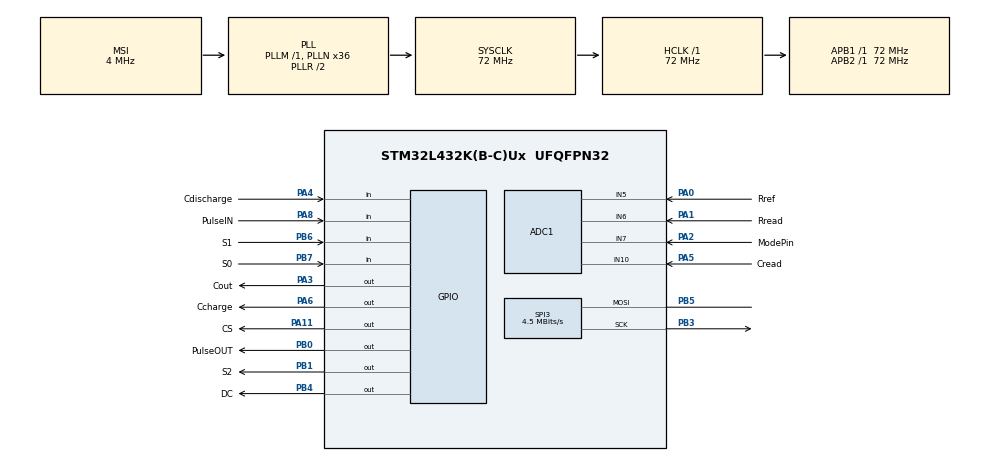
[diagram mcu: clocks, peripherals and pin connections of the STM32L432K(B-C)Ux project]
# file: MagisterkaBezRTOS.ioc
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ADC1.Channel-0\#ChannelRegularConversion=ADC_CHANNEL_5
ADC1.Channel-1\#ChannelRegularConversion=ADC_CHANNEL_6
ADC1.Channel-2\#ChannelRegularConversion=ADC_CHANNEL_7
ADC1.Channel-3\#ChannelRegularConversion=ADC_CHANNEL_10
ADC1.ClockPrescaler=ADC_CLOCK_ASYNC_DIV8
ADC1.ContinuousConvMode=ENABLE
ADC1.EOCSelection=ADC_EOC_SINGLE_CONV
ADC1.NbrOfConversion=4
ADC1.NbrOfConversionFlag=1
ADC1.OffsetNumber-0\#ChannelRegularConversion=ADC_OFFSET_NONE
ADC1.OffsetNumber-1\#ChannelRegularConversion=ADC_OFFSET_NONE
ADC1.OffsetNumber-2\#ChannelRegularConversion=ADC_OFFSET_NONE
ADC1.OffsetNumber-3\#ChannelRegularConversion=ADC_OFFSET_NONE
ADC1.Rank-0\#ChannelRegularConversion=1
ADC1.Rank-1\#ChannelRegularConversion=2
ADC1.Rank-2\#ChannelRegularConversion=3
ADC1.Rank-3\#ChannelRegularConversion=4
ADC1.SamplingTime-0\#ChannelRegularConversion=ADC_SAMPLETIME_24CYCLES_5
ADC1.SamplingTime-1\#ChannelRegularConversion=ADC_SAMPLETIME_24CYCLES_5
ADC1.SamplingTime-2\#ChannelRegularConversion=ADC_SAMPLETIME_24CYCLES_5
ADC1.SamplingTime-3\#ChannelRegularConversion=ADC_SAMPLETIME_24CYCLES_5
ADC1.master=1
Mcu.Family=STM32L4
Mcu.Name=STM32L432K(B-C)Ux
Mcu.Package=UFQFPN32
NVIC.PriorityGroup=NVIC_PRIORITYGROUP_4
NVIC.TIM6_DAC_IRQn=true\:15\:0\:false\:false\:true\:false\:true
NVIC.TimeBase=TIM6_DAC_IRQn
NVIC.TimeBaseIP=TIM6
PA0.GPIO_Label=Rref
PA0.Signal=ADCx_IN5
PA1.GPIO_Label=Rread
PA1.Signal=ADCx_IN6
PA11.GPIO_Label=CS
PA11.Signal=GPIO_Output
PA2.GPIO_Label=ModePin
PA2.Signal=ADCx_IN7
PA3.GPIO_Label=Cout
PA3.Signal=GPIO_Output
PA4.GPIO_Label=Cdischarge
PA4.Signal=GPIO_Input
PA5.GPIO_Label=Cread
PA5.Signal=ADCx_IN10
PA6.GPIO_Label=Ccharge
PA6.PinState=GPIO_PIN_SET
PA6.Signal=GPIO_Output
PA8.GPIO_Label=PulseIN
PA8.Signal=GPIO_Input
PB0.GPIO_Label=PulseOUT
PB0.Signal=GPIO_Output
PB1.GPIO_Label=S2
PB1.Signal=GPIO_Output
PB3\ (JTDO-TRACESWO).Mode=Simplex_Bidirectional_Master
PB3\ (JTDO-TRACESWO).Signal=SPI3_SCK
PB4\ (NJTRST).GPIO_Label=DC
PB4\ (NJTRST).Signal=GPIO_Output
PB5.Mode=Simplex_Bidirectional_Master
PB5.Signal=SPI3_MOSI
PB6.GPIO_Label=S1
PB6.Signal=GPIO_Input
PB7.GPIO_Label=S0
PB7.Signal=GPIO_Input
ProjectManager.HeapSize=0x200
ProjectManager.StackSize=0x400
ProjectManager.TargetToolchain=STM32CubeIDE
RCC.ADCFreq_Value=32000000
RCC.AHBFreq_Value=72000000
RCC.APB1Freq_Value=72000000
RCC.APB1TimFreq_Value=72000000
RCC.APB2Freq_Value=72000000
RCC.APB2TimFreq_Value=72000000
RCC.CortexFreq_Value=72000000
RCC.HCLKFreq_Value=72000000
RCC.HSE_VALUE=8000000
RCC.HSI48_VALUE=48000000
RCC.HSI_VALUE=16000000
RCC.LSE_VALUE=32768
RCC.MSI_VALUE=4000000
RCC.PLLN=36
RCC.PLLSAI1N=16
RCC.SYSCLKFreq_VALUE=72000000
RCC.SYSCLKSource=RCC_SYSCLKSOURCE_PLLCLK
RCC.USBFreq_Value=32000000
RCC.VCOOutputFreq_Value=144000000
SH.ADCx_IN10.0=ADC1_IN10,IN10-Single-Ended
SH.ADCx_IN5.0=ADC1_IN5,IN5-Single-Ended
SH.ADCx_IN6.0=ADC1_IN6,IN6-Single-Ended
SH.ADCx_IN7.0=ADC1_IN7,IN7-Single-Ended
SPI3.BaudRatePrescaler=SPI_BAUDRATEPRESCALER_16
SPI3.CalculateBaudRate=4.5 MBits/s
SPI3.DataSize=SPI_DATASIZE_8BIT
SPI3.Direction=SPI_DIRECTION_1LINE
SPI3.Mode=SPI_MODE_MASTER
SPI3.VirtualType=VM_MASTER
TIM1.Period=0xffff-1
TIM1.Prescaler=71
TIM2.Prescaler=72-1
VP_SYS_VS_tim6.Mode=TIM6
VP_TIM1_VS_ClockSourceINT.Mode=Internal
VP_TIM2_VS_ClockSourceINT.Mode=Internal
board=custom

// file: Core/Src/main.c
/* USER CODE BEGIN Header */
/**
  ******************************************************************************
  * @file           : main.c
  * @brief          : Main program body
  ******************************************************************************
  * @attention
  *
  * Copyright (c) 2022 STMicroelectronics.
  * All rights reserved.
  *
  * This software is licensed under terms that can be found in the LICENSE file
  * in the root directory of this software component.
  * If no LICENSE file comes with this software, it is provided AS-IS.
  *
  ******************************************************************************
  */
/* USER CODE END Header */
#include "main.h"

/* USER CODE BEGIN Includes */
#include "stdio.h"
#include "ST7735.h"
#include "GFX_FUNCTIONS.h"
#include "math.h"
/* USER CODE END Includes */

ADC_HandleTypeDef hadc1;

SPI_HandleTypeDef hspi3;

TIM_HandleTypeDef htim1;
TIM_HandleTypeDef htim2;

void SystemClock_Config(void);
static void MX_GPIO_Init(void);
static void MX_SPI3_Init(void);
static void MX_ADC1_Init(void);
static void MX_TIM1_Init(void);
static void MX_TIM2_Init(void);
/* USER CODE BEGIN PFP */

uint16_t Flaga, Vtryb = 0;
char result[10];
double Val ;
float tryb;

double CR = 9910;
double PI = 3.14159265358979323846264338328;
double c = 0.995E-6;

double ref = 0;
double rx[7];
float r7[]={507.4, 2173.0, 5053.0, 10020.0, 100900.0, 468600.0, 1003000.0};
int ind = 0;

int controlPin[] = {S0_Pin, S1_Pin, S2_Pin};
    int muxChannel[8][3]={
      {0,0,0}, //kanał 0
      {1,0,0}, //kanał 1
      {0,1,0}, //kanał 2
      {1,1,0}, //kanał 3
      {0,0,1}, //kanał 4
      {1,0,1}, //kanał 5
      {0,1,1}, //kanał 6
      {1,1,1}, //kanał 7
    };

/* USER CODE END PFP */

/* USER CODE BEGIN 0 */
void ADC_Select_Rref ();
void ADC_Select_Rread ();
void ADC_Select_ModePin ();
void ADC_Select_Cread ();
void ADC_Select_Cout ();

void ADC_SetActiveChannel(ADC_HandleTypeDef *hadc, uint32_t AdcChannel);

void deactivate_perif();
void Vref();
void delay_us (uint16_t us);
uint16_t pulse_in (GPIO_TypeDef *port, uint16_t pin, uint16_t timeout);
void set_gpio(GPIO_TypeDef *port, uint16_t pin, uint32_t Mode, uint32_t Pull );
/* USER CODE END 0 */

int main(void)
{

  /* MCU Configuration--------------------------------------------------------*/

  /* Reset of all peripherals, Initializes the Flash interface and the Systick. */
  HAL_Init();

  /* Configure the system clock */
  SystemClock_Config();

  /* Initialize all configured peripherals */
  MX_GPIO_Init();
  MX_SPI3_Init();
  MX_ADC1_Init();
  MX_TIM1_Init();
  MX_TIM2_Init();
  /* USER CODE BEGIN 2 */

  HAL_TIM_Base_Start(&htim2);

  ST7735_Init(0);
  fillScreen(BLACK);
  HAL_ADCEx_Calibration_Start(&hadc1, ADC_SINGLE_ENDED);
  /* USER CODE END 2 */

  /* Infinite loop */
  while (1)
  {
	  uint8_t oldFlaga;

	  ADC_Select_ModePin();

	  HAL_ADC_Start(&hadc1);
	  HAL_ADC_PollForConversion(&hadc1, 10);
	  Vtryb = HAL_ADC_GetValue(&hadc1);
	  HAL_ADC_Stop(&hadc1);

	  tryb = (Vtryb*3.3)/4095;

	  if(tryb<0.1){
	  	  Flaga = 1;
	   }
	  else if(tryb < 1.3){
		  Flaga = 2;
	  }
	  else if(tryb < 2.3){
		  Flaga = 3;
	  }
	  else if(tryb < 3.5){
		  Flaga = 4;
	  }

	  if(Flaga != oldFlaga){
		oldFlaga = Flaga;

	  	fillScreen(BLACK);
	  	deactivate_perif();
	  }

	  if(Flaga == 1){

		  ST7735_WriteString(7, 35, "MIERNIK", Font_16x26, WHITE, BLACK);
		  ST7735_WriteString(35, 80, "RLC", Font_16x26, WHITE, BLACK);

	  }
	  else if(Flaga == 2){
		  Vref();
		  ST7735_WriteString(25, 10, "REZYSTANCJA", Font_7x10, WHITE, BLACK);

		  set_gpio(GPIOB, S2_Pin, GPIO_MODE_OUTPUT_PP, GPIO_NOPULL );
		  set_gpio(GPIOB, S1_Pin, GPIO_MODE_OUTPUT_PP, GPIO_NOPULL );
		  set_gpio(GPIOB, S0_Pin, GPIO_MODE_OUTPUT_PP, GPIO_NOPULL );
		  set_gpio(GPIOA, Rread_Pin, GPIO_MODE_ANALOG_ADC_CONTROL, GPIO_NOPULL );
		  set_gpio(GPIOA, Rref_Pin, GPIO_MODE_ANALOG_ADC_CONTROL, GPIO_NOPULL );
		  HAL_Delay(100);

		  double Uwe = (ref * 3.3/4095.0) * ((9990.0+10060.0)/10060.0);
		  ADC_Select_Rread();
		  for(int i = 1; i<8; i++){

			  for(int j = 0; j < 3; j ++){
		          HAL_GPIO_WritePin(GPIOB, controlPin[j], muxChannel[i][j]);
		      }
			  HAL_ADCEx_Calibration_Start(&hadc1, ADC_SINGLE_ENDED);
		      HAL_Delay(100);
		      HAL_ADC_Start(&hadc1);
		      HAL_ADC_PollForConversion(&hadc1, 10);
		      rx[i-1] = HAL_ADC_GetValue(&hadc1);
		      HAL_ADC_Stop(&hadc1);

		  }

		  ind = 6;
		  for(int i = 7; i >= 0; i--){
			  if(rx[i]>2048){
				  ind=i;
			  }
		  }
		  if(ind == 0){
			  if(rx[0] < 3600){
			  	  ind = 1;
		  	  }
		  }
		  else if(ind == 1){
			  if(rx[1] < 3200){
			  	  ind = 2;
		  	  }
		  }
		  else if(ind == 2){
			  if(rx[2] < 2600){
			  	  ind = 3;
		  	  }
		  }

		  Val = ((Uwe*r7[ind])/(rx[ind]* (3.3 / 4095.0)))-r7[ind];
		  double Val0 = ((Uwe*r7[0])/(rx[0]* (3.3 / 4095.0)))-r7[0];
		  double Val1 = ((Uwe*r7[1])/(rx[1]* (3.3 / 4095.0)))-r7[1];
		  double Val2 = ((Uwe*r7[2])/(rx[2]* (3.3 / 4095.0)))-r7[2];
		  double Val3 = ((Uwe*r7[3])/(rx[3]* (3.3 / 4095.0)))-r7[3];
		  double Val4 = ((Uwe*r7[4])/(rx[4]* (3.3 / 4095.0)))-r7[4];
		  double Val5 = ((Uwe*r7[5])/(rx[5]* (3.3 / 4095.0)))-r7[5];
		  double Val6 = ((Uwe*r7[6])/(rx[6]* (3.3 / 4095.0)))-r7[6];

		  if(Val >2000000 || Val < 1){
			  ST7735_WriteString(10, 50, " -----      ", Font_16x26, WHITE, BLACK);
			  ST7735_WriteString(35, 105, "Ohm  ", Font_16x26, WHITE, BLACK);
		  }

		  else if (Val < 1000){
			  int v1,v2;
			  v1 = (int)Val;
			  v2 = (Val - (int)Val)*10;

			  sprintf(result, "%d.%d     ", v1, v2);
			  ST7735_WriteString(25, 50, result, Font_16x26, WHITE, BLACK);
			  ST7735_WriteString(35, 105, "Ohm  ", Font_16x26, WHITE, BLACK);
		  }
		  else if (Val < 100000){

			  sprintf(result, "%d    ", (int)Val);
			  ST7735_WriteString(25, 50, result, Font_16x26, WHITE, BLACK);
			  ST7735_WriteString(35, 105, "Ohm  ", Font_16x26, WHITE, BLACK);
		  }

		  else if (Val<1000000){
			  Val /=1000;
			  int v1,v2;
			  v1 = (int)Val;
			  v2 = (Val - v1)*10;

			  sprintf(result, "%d.%d     ", v1, v2);
			  ST7735_WriteString(25, 50, result, Font_16x26, WHITE, BLACK);
			  ST7735_WriteString(35, 105, "KOhm  ", Font_16x26, WHITE, BLACK);
		  }
		  else {

			  Val /=1000000;
			  int v1,v2,v3,v4;
			  v1 = (int)Val;
			  v2 = (Val - v1)*10;
			  v3 = (Val - v1)*100-v2;
			  v4 = (Val - v1)*1000-v3;
			  sprintf(result, "%d.%d%d%d     ", v1, v2,v3,v4);
			  ST7735_WriteString(25, 50, result, Font_16x26, WHITE, BLACK);
			  ST7735_WriteString(35, 105, "MOhm  ", Font_16x26, WHITE, BLACK);

		  }

	  }
	  else if(Flaga == 3){
		  Vref();
		  double c63=ref*2*0.632;
		  ST7735_WriteString(30, 10, "POJEMNOSC", Font_7x10, WHITE, BLACK);

		  set_gpio(GPIOA, Cout_Pin, GPIO_MODE_OUTPUT_PP, GPIO_NOPULL );
		  set_gpio(GPIOA, Ccharge_Pin, GPIO_MODE_OUTPUT_PP, GPIO_NOPULL );
		  set_gpio(GPIOA, Cdischarge_Pin, GPIO_MODE_OUTPUT_PP, GPIO_NOPULL );
		  set_gpio(GPIOA, Cread_Pin, GPIO_MODE_ANALOG_ADC_CONTROL, GPIO_NOPULL );

		  HAL_GPIO_WritePin(GPIOA, Cdischarge_Pin, 0);
		  HAL_GPIO_WritePin(GPIOA, Cout_Pin, 0);
		  HAL_GPIO_WritePin(GPIOA, Ccharge_Pin, 0);

		  ADC_Select_Cread();

		  uint16_t tmp = 4000;
		  HAL_ADC_Start(&hadc1);
		  while(tmp > 20){		//rozładowanie kondensatora
			  HAL_ADC_PollForConversion(&hadc1, 10);
			  tmp = HAL_ADC_GetValue(&hadc1);
		  }

		  HAL_GPIO_WritePin(GPIOA, Ccharge_Pin, 1);
		  __HAL_TIM_SET_COUNTER(&htim2,0);	//zerowanie timera

		  while(tmp < c63){
			  HAL_ADC_PollForConversion(&hadc1, 10);
			  tmp = HAL_ADC_GetValue(&hadc1);
		  }

		  unsigned long elapsedTime = __HAL_TIM_GET_COUNTER(&htim2);
		  HAL_ADC_Stop(&hadc1);

		  Val = ((float)elapsedTime / (float)CR);

		  if(Val<1){	//jeśli wartość jest poniżej 1uF

			  Val *= 1000;	//zamiana na nF

			  if(Val <90){  //male wartości poniżęj 90nF

			  	set_gpio(GPIOA, Ccharge_Pin, GPIO_MODE_INPUT, GPIO_NOPULL );
			  	set_gpio(GPIOA, Cdischarge_Pin, GPIO_MODE_INPUT, GPIO_NOPULL );

			  	set_gpio(GPIOA, Cread_Pin, GPIO_MODE_OUTPUT_PP, GPIO_NOPULL );
			  	HAL_Delay(1);
			  	set_gpio(GPIOA, Cout_Pin, GPIO_MODE_INPUT, GPIO_PULLUP );
			  	unsigned long t;
			  	int digVal;
			  	__HAL_TIM_SET_COUNTER(&htim2,0);
			  	do{
			  		digVal = HAL_GPIO_ReadPin(GPIOA, Cout_Pin);
			  		t = __HAL_TIM_GET_COUNTER(&htim2);
			  	}
			  	while ((digVal < 1) && (t < 400000L));
			  	set_gpio(GPIOA, Cout_Pin, GPIO_MODE_ANALOG_ADC_CONTROL, GPIO_NOPULL );

			  	ADC_Select_Cout();
			  	HAL_ADC_Start(&hadc1);
			  	HAL_ADC_PollForConversion(&hadc1, 10);
			  	Val = HAL_ADC_GetValue(&hadc1);
			  	HAL_ADC_Stop(&hadc1);

		  		HAL_GPIO_WritePin(GPIOA, Cread_Pin, 1);
		  		int dischargeTime = (int)(t / 1000L) * 5;
		  		HAL_Delay(dischargeTime);
		  		set_gpio(GPIOA, Cout_Pin, GPIO_MODE_OUTPUT_PP, GPIO_NOPULL );
		  		HAL_GPIO_WritePin(GPIOA, Cread_Pin, 0);
		  		HAL_GPIO_WritePin(GPIOA, Cout_Pin, 0);
		  		float cap = (-(float)t / 39.8) / (log(1.0 - (float)Val / (float)4095));

		  		if(cap>=1){
		  			int v1,v2,v3;
		  			v1 = (int)cap;
		  			v2 = (cap - (int)cap)*10;
		  			v3 = (cap - (int)cap)*100;

		  			sprintf(result, "%d.%d%d     ", v1, v2,v3);
		  			ST7735_WriteString(20, 50, result, Font_16x26, WHITE, BLACK);
		  			ST7735_WriteString(14, 105, "  nF  ", Font_16x26, WHITE, BLACK);

		        }
		  		else if(cap>0.15){

		  			cap *=1000;
		  			sprintf(result, " %d     ", (int)cap);
		  			ST7735_WriteString(20, 50, result, Font_16x26, WHITE, BLACK);
		  			ST7735_WriteString(14, 105, "  pF  ", Font_16x26, WHITE, BLACK);
		  			HAL_Delay(200);

		  		}
		        else{

		  			ST7735_WriteString(10, 50, " -----      ", Font_16x26, WHITE, BLACK);
		  	  	  	ST7735_WriteString(19, 105, "  F  ", Font_16x26, WHITE, BLACK);

		        }
			  }//koniec małe watości

			  else{
				  int v1,v2,v3;
				  v1 = (int)Val;
				  v2 = (Val - (int)Val)*10;
				  v3 = (Val - (int)Val)*100;

				  sprintf(result, "%d.%d%d     ", v1, v2,v3);
			  	  ST7735_WriteString(10, 50, result, Font_16x26, WHITE, BLACK);
			  	  ST7735_WriteString(14, 105, "  nF  ", Font_16x26, WHITE, BLACK);
			  }
		  }
		  else{
			  int v1,v2;
			  v1 = (int)Val;
			  v2 = (Val - (int)Val)*10;

			  sprintf(result, "%d.%d     ", v1, v2);
			  ST7735_WriteString(10, 50, result, Font_16x26, WHITE, BLACK);
			  ST7735_WriteString(14, 105, "  uF  ", Font_16x26, WHITE, BLACK);
		  }

	  }

	  else if(Flaga == 4){

		  ST7735_WriteString(20, 10, "INDUKCYJNOSC", Font_7x10, WHITE, BLACK);

		  set_gpio(GPIOA, PulseIN_Pin, GPIO_MODE_INPUT, GPIO_NOPULL );
		  set_gpio(GPIOB, PulseOUT_Pin, GPIO_MODE_OUTPUT_PP, GPIO_NOPULL );

	  	  HAL_GPIO_WritePin(GPIOB, PulseOUT_Pin, 1);
	  	  HAL_Delay(5);
	  	  HAL_GPIO_WritePin(GPIOB, PulseOUT_Pin, 0);
	  	  delay_us(50);
	  	  double puls = pulse_in(GPIOA, PulseIN_Pin , 5000);
	  	  double freq;

	  	  if(puls > 0.1){

	  		  freq = 1.E6/(2*puls);  //zamiana na częstotliwość
	  		  Val = 1/(4*c*freq*freq*PI*PI);
	  		  Val *= 1.0E6;

	  	  }
	  	  else{
	  		  Val = 0;
	  	  }

	  	  if(Val>0.1){

	  		  if(Val<10000){

	  			  sprintf(result, " %d     ", (int)Val);
	  			  ST7735_WriteString(20, 50, result, Font_16x26, WHITE, BLACK);
	  	  	  	  ST7735_WriteString(14, 105, "  uH  ", Font_16x26, WHITE, BLACK);

	  		  }

	  	  }
	  	  else{

	  		  ST7735_WriteString(10, 50, " -----      ", Font_16x26, WHITE, BLACK);
	  	  	  ST7735_WriteString(19, 105, "  H  ", Font_16x26, WHITE, BLACK);

	  	  }

	  }

  }
}
void Vref	(void)
{
	deactivate_perif();
	set_gpio(GPIOB, S2_Pin, GPIO_MODE_OUTPUT_PP, GPIO_NOPULL );
	set_gpio(GPIOB, S1_Pin, GPIO_MODE_OUTPUT_PP, GPIO_NOPULL );
	set_gpio(GPIOB, S0_Pin, GPIO_MODE_OUTPUT_PP, GPIO_NOPULL );
	set_gpio(GPIOA, Rref_Pin, GPIO_MODE_ANALOG_ADC_CONTROL, GPIO_NOPULL );

	HAL_Delay(50);

	for(int j = 0; j < 3; j ++){

		HAL_GPIO_WritePin(GPIOB, controlPin[j], muxChannel[0][j]);
	}

	HAL_ADCEx_Calibration_Start(&hadc1, ADC_SINGLE_ENDED);
	HAL_Delay(50);
	ADC_Select_Rref ();

	HAL_ADC_Start(&hadc1);
	HAL_ADC_PollForConversion(&hadc1, 100);
	ref = HAL_ADC_GetValue(&hadc1);
	HAL_ADC_Stop(&hadc1);
	deactivate_perif();
}

void ADC_Select_Rref (void)
{
	ADC_ChannelConfTypeDef sConfig = {0};
	  /** Configure for the selected ADC regular channel its corresponding rank in the sequencer and its sample time.
	  */
	  sConfig.Channel = ADC_CHANNEL_5;
	  sConfig.Rank = 1;
	  sConfig.SamplingTime = ADC_SAMPLETIME_247CYCLES_5;
	  sConfig.SingleDiff = ADC_SINGLE_ENDED;
	  if (HAL_ADC_ConfigChannel(&hadc1, &sConfig) != HAL_OK)
	  {
	    Error_Handler();
	  }
}

void ADC_Select_Rread (void)
{
	ADC_ChannelConfTypeDef sConfig = {0};
	  /** Configure for the selected ADC regular channel its corresponding rank in the sequencer and its sample time.
	  */
	sConfig.Channel = ADC_CHANNEL_6;
	sConfig.Rank = 1;
	sConfig.SamplingTime = ADC_SAMPLETIME_247CYCLES_5;
	sConfig.SingleDiff = ADC_SINGLE_ENDED;
	if (HAL_ADC_ConfigChannel(&hadc1, &sConfig) != HAL_OK)
	  {
	    Error_Handler();
	  }
}

void ADC_Select_ModePin (void)
{
	ADC_ChannelConfTypeDef sConfig = {0};

	sConfig.Channel = ADC_CHANNEL_7;
	sConfig.Rank = 1;
	sConfig.SamplingTime = ADC_SAMPLETIME_24CYCLES_5;
	sConfig.SingleDiff = ADC_SINGLE_ENDED;
	if (HAL_ADC_ConfigChannel(&hadc1, &sConfig) != HAL_OK)
	  {
	    //Error_Handler();
	  }
}

void ADC_Select_Cout (void)
{
	ADC_ChannelConfTypeDef sConfig = {0};
	  /** Configure for the selected ADC regular channel its corresponding rank in the sequencer and its sample time.
	  */
	  sConfig.Channel = ADC_CHANNEL_8;
	  sConfig.Rank = 1;
	  sConfig.SamplingTime = ADC_SAMPLETIME_24CYCLES_5;
	  sConfig.SingleDiff = ADC_SINGLE_ENDED;
	  if (HAL_ADC_ConfigChannel(&hadc1, &sConfig) != HAL_OK)
	  {
	    Error_Handler();
	  }
}
void ADC_Select_Cread (void)
{
	ADC_ChannelConfTypeDef sConfig = {0};
	  /** Configure for the selected ADC regular channel its corresponding rank in the sequencer and its sample time.
	  */
	  sConfig.Channel = ADC_CHANNEL_10;
	  sConfig.Rank = 1;
	  sConfig.SamplingTime = ADC_SAMPLETIME_2CYCLES_5;
	  sConfig.SingleDiff = ADC_SINGLE_ENDED;
	  if (HAL_ADC_ConfigChannel(&hadc1, &sConfig) != HAL_OK)
	  {
	    Error_Handler();
	  }
}
void deactivate_perif(void)
{
	set_gpio(GPIOA, Cout_Pin|Cdischarge_Pin|Ccharge_Pin|Cread_Pin|PulseIN_Pin, GPIO_MODE_INPUT, GPIO_NOPULL );
	set_gpio(GPIOB, S2_Pin|S1_Pin|S0_Pin|PulseOUT_Pin, GPIO_MODE_INPUT, GPIO_NOPULL );
}

void SystemClock_Config(void)
{
  RCC_OscInitTypeDef RCC_OscInitStruct = {0};
  RCC_ClkInitTypeDef RCC_ClkInitStruct = {0};

  /** Configure the main internal regulator output voltage
  */
  if (HAL_PWREx_ControlVoltageScaling(PWR_REGULATOR_VOLTAGE_SCALE1) != HAL_OK)
  {
    Error_Handler();
  }
  /** Initializes the RCC Oscillators according to the specified parameters
  * in the RCC_OscInitTypeDef structure.
  */
  RCC_OscInitStruct.OscillatorType = RCC_OSCILLATORTYPE_MSI;
  RCC_OscInitStruct.MSIState = RCC_MSI_ON;
  RCC_OscInitStruct.MSICalibrationValue = 0;
  RCC_OscInitStruct.MSIClockRange = RCC_MSIRANGE_6;
  RCC_OscInitStruct.PLL.PLLState = RCC_PLL_ON;
  RCC_OscInitStruct.PLL.PLLSource = RCC_PLLSOURCE_MSI;
  RCC_OscInitStruct.PLL.PLLM = 1;
  RCC_OscInitStruct.PLL.PLLN = 36;
  RCC_OscInitStruct.PLL.PLLP = RCC_PLLP_DIV7;
  RCC_OscInitStruct.PLL.PLLQ = RCC_PLLQ_DIV2;
  RCC_OscInitStruct.PLL.PLLR = RCC_PLLR_DIV2;
  if (HAL_RCC_OscConfig(&RCC_OscInitStruct) != HAL_OK)
  {
    Error_Handler();
  }
  /** Initializes the CPU, AHB and APB buses clocks
  */
  RCC_ClkInitStruct.ClockType = RCC_CLOCKTYPE_HCLK|RCC_CLOCKTYPE_SYSCLK
                              |RCC_CLOCKTYPE_PCLK1|RCC_CLOCKTYPE_PCLK2;
  RCC_ClkInitStruct.SYSCLKSource = RCC_SYSCLKSOURCE_PLLCLK;
  RCC_ClkInitStruct.AHBCLKDivider = RCC_SYSCLK_DIV1;
  RCC_ClkInitStruct.APB1CLKDivider = RCC_HCLK_DIV1;
  RCC_ClkInitStruct.APB2CLKDivider = RCC_HCLK_DIV1;

  if (HAL_RCC_ClockConfig(&RCC_ClkInitStruct, FLASH_LATENCY_4) != HAL_OK)
  {
    Error_Handler();
  }
}

static void MX_ADC1_Init(void)
{

  //ADC_ChannelConfTypeDef sConfig = {0};

  /** Common config
  */
  hadc1.Instance = ADC1;
  hadc1.Init.ClockPrescaler = ADC_CLOCK_ASYNC_DIV128;
  hadc1.Init.Resolution = ADC_RESOLUTION_12B;
  hadc1.Init.DataAlign = ADC_DATAALIGN_RIGHT;
  hadc1.Init.ScanConvMode = ADC_SCAN_ENABLE;
  hadc1.Init.EOCSelection = ADC_EOC_SEQ_CONV;
  hadc1.Init.LowPowerAutoWait = DISABLE;
  hadc1.Init.ContinuousConvMode = ENABLE;
  hadc1.Init.NbrOfConversion = 1;
  hadc1.Init.DiscontinuousConvMode = DISABLE;
  hadc1.Init.ExternalTrigConv = ADC_SOFTWARE_START;
  hadc1.Init.ExternalTrigConvEdge = ADC_EXTERNALTRIGCONVEDGE_NONE;
  hadc1.Init.DMAContinuousRequests = DISABLE;
  hadc1.Init.Overrun = ADC_OVR_DATA_PRESERVED;
  hadc1.Init.OversamplingMode = DISABLE;
  if (HAL_ADC_Init(&hadc1) != HAL_OK)
  {
    Error_Handler();
  }

}

static void MX_SPI3_Init(void)
{

  /* SPI3 parameter configuration*/
  hspi3.Instance = SPI3;
  hspi3.Init.Mode = SPI_MODE_MASTER;
  hspi3.Init.Direction = SPI_DIRECTION_1LINE;
  hspi3.Init.DataSize = SPI_DATASIZE_8BIT;
  hspi3.Init.CLKPolarity = SPI_POLARITY_LOW;
  hspi3.Init.CLKPhase = SPI_PHASE_1EDGE;
  hspi3.Init.NSS = SPI_NSS_SOFT;
  hspi3.Init.BaudRatePrescaler = SPI_BAUDRATEPRESCALER_16;
  hspi3.Init.FirstBit = SPI_FIRSTBIT_MSB;
  hspi3.Init.TIMode = SPI_TIMODE_DISABLE;
  hspi3.Init.CRCCalculation = SPI_CRCCALCULATION_DISABLE;
  hspi3.Init.CRCPolynomial = 7;
  hspi3.Init.CRCLength = SPI_CRC_LENGTH_DATASIZE;
  hspi3.Init.NSSPMode = SPI_NSS_PULSE_ENABLE;
  if (HAL_SPI_Init(&hspi3) != HAL_OK)
  {
    Error_Handler();
  }

}

static void MX_TIM1_Init(void)
{

  TIM_ClockConfigTypeDef sClockSourceConfig = {0};
  TIM_MasterConfigTypeDef sMasterConfig = {0};

  htim1.Instance = TIM1;
  htim1.Init.Prescaler = 71;
  htim1.Init.CounterMode = TIM_COUNTERMODE_UP;
  htim1.Init.Period = 0xffff-1;
  htim1.Init.ClockDivision = TIM_CLOCKDIVISION_DIV1;
  htim1.Init.RepetitionCounter = 0;
  htim1.Init.AutoReloadPreload = TIM_AUTORELOAD_PRELOAD_DISABLE;
  if (HAL_TIM_Base_Init(&htim1) != HAL_OK)
  {
    Error_Handler();
  }
  sClockSourceConfig.ClockSource = TIM_CLOCKSOURCE_INTERNAL;
  if (HAL_TIM_ConfigClockSource(&htim1, &sClockSourceConfig) != HAL_OK)
  {
    Error_Handler();
  }
  sMasterConfig.MasterOutputTrigger = TIM_TRGO_RESET;
  sMasterConfig.MasterOutputTrigger2 = TIM_TRGO2_RESET;
  sMasterConfig.MasterSlaveMode = TIM_MASTERSLAVEMODE_DISABLE;
  if (HAL_TIMEx_MasterConfigSynchronization(&htim1, &sMasterConfig) != HAL_OK)
  {
    Error_Handler();
  }

}

static void MX_TIM2_Init(void)
{

  TIM_ClockConfigTypeDef sClockSourceConfig = {0};
  TIM_MasterConfigTypeDef sMasterConfig = {0};

  htim2.Instance = TIM2;
  htim2.Init.Prescaler = 72;
  htim2.Init.CounterMode = TIM_COUNTERMODE_UP;
  htim2.Init.Period = 4294967295;
  htim2.Init.ClockDivision = TIM_CLOCKDIVISION_DIV1;
  htim2.Init.AutoReloadPreload = TIM_AUTORELOAD_PRELOAD_DISABLE;
  if (HAL_TIM_Base_Init(&htim2) != HAL_OK)
  {
    Error_Handler();
  }
  sClockSourceConfig.ClockSource = TIM_CLOCKSOURCE_INTERNAL;
  if (HAL_TIM_ConfigClockSource(&htim2, &sClockSourceConfig) != HAL_OK)
  {
    Error_Handler();
  }
  sMasterConfig.MasterOutputTrigger = TIM_TRGO_RESET;
  sMasterConfig.MasterSlaveMode = TIM_MASTERSLAVEMODE_DISABLE;
  if (HAL_TIMEx_MasterConfigSynchronization(&htim2, &sMasterConfig) != HAL_OK)
  {
    Error_Handler();
  }

}

static void MX_GPIO_Init(void)
{
  GPIO_InitTypeDef GPIO_InitStruct = {0};

  /* GPIO Ports Clock Enable */
  __HAL_RCC_GPIOA_CLK_ENABLE();
  __HAL_RCC_GPIOB_CLK_ENABLE();

  /*Configure GPIO pin Output Level */
  HAL_GPIO_WritePin(GPIOA, CS_Pin, GPIO_PIN_RESET);

  /*Configure GPIO pin Output Level */
  HAL_GPIO_WritePin(GPIOB, DC_Pin, GPIO_PIN_RESET);

  /*Configure GPIO pins : Cout_Pin Ccharge_Pin CS_Pin */
  GPIO_InitStruct.Pin = CS_Pin;
  GPIO_InitStruct.Mode = GPIO_MODE_OUTPUT_PP;
  GPIO_InitStruct.Pull = GPIO_NOPULL;
  GPIO_InitStruct.Speed = GPIO_SPEED_FREQ_LOW;
  HAL_GPIO_Init(GPIOA, &GPIO_InitStruct);

  /*Configure GPIO pins : PulseOUT_Pin S2_Pin DC_Pin */
  GPIO_InitStruct.Pin = DC_Pin;
  GPIO_InitStruct.Mode = GPIO_MODE_OUTPUT_PP;
  GPIO_InitStruct.Pull = GPIO_NOPULL;
  GPIO_InitStruct.Speed = GPIO_SPEED_FREQ_LOW;
  HAL_GPIO_Init(GPIOB, &GPIO_InitStruct);
}

/* USER CODE BEGIN 4 */

void ADC_SetActiveChannel(ADC_HandleTypeDef *hadc, uint32_t AdcChannel)
{
  ADC_ChannelConfTypeDef sConfig = {0};
  sConfig.Channel = AdcChannel;
  sConfig.Rank = 1;
  sConfig.SamplingTime = ADC_SAMPLETIME_2CYCLES_5;
  if (HAL_ADC_ConfigChannel(hadc, &sConfig) != HAL_OK)
  {
   Error_Handler();
  }
}

void delay_us ( uint16_t us)
{
	__HAL_TIM_SET_COUNTER(&htim2,0);  				// set the counter value a 0
	while (__HAL_TIM_GET_COUNTER(&htim2) < us);  	// wait for the counter to reach the us input in the parameter
}

uint16_t pulse_in (GPIO_TypeDef *port, uint16_t pin, uint16_t timeout)
{
	uint16_t tmp;
	__HAL_TIM_SET_COUNTER(&htim2,0);
	while(HAL_GPIO_ReadPin(port, pin) == 1){
		if(__HAL_TIM_GET_COUNTER(&htim2) > timeout) return 0;
	}

	while(HAL_GPIO_ReadPin(port, pin) == 0);
	__HAL_TIM_SET_COUNTER(&htim2,0);  // set the counter value a 0

	while (__HAL_TIM_GET_COUNTER(&htim2) < timeout){
		if(HAL_GPIO_ReadPin(port, pin) == 0){
			tmp = __HAL_TIM_GET_COUNTER(&htim2);
			break;
		}
		tmp = 0;
	}
	return tmp;
}
void set_gpio(GPIO_TypeDef *port, uint16_t pin, uint32_t Mode, uint32_t Pull ){

	GPIO_InitTypeDef GPIO_InitStruct = {0};
	GPIO_InitStruct.Pin = pin;
	GPIO_InitStruct.Mode = Mode;
	GPIO_InitStruct.Pull = Pull;
	GPIO_InitStruct.Speed = GPIO_SPEED_FREQ_LOW;
	HAL_GPIO_Init(port, &GPIO_InitStruct);

}

/* USER CODE END 4 */

void HAL_TIM_PeriodElapsedCallback(TIM_HandleTypeDef *htim)
{
  if (htim->Instance == TIM6) {
    HAL_IncTick();
  }
}

void Error_Handler(void)
{
  __disable_irq();
  while (1)
  {
  }
}
